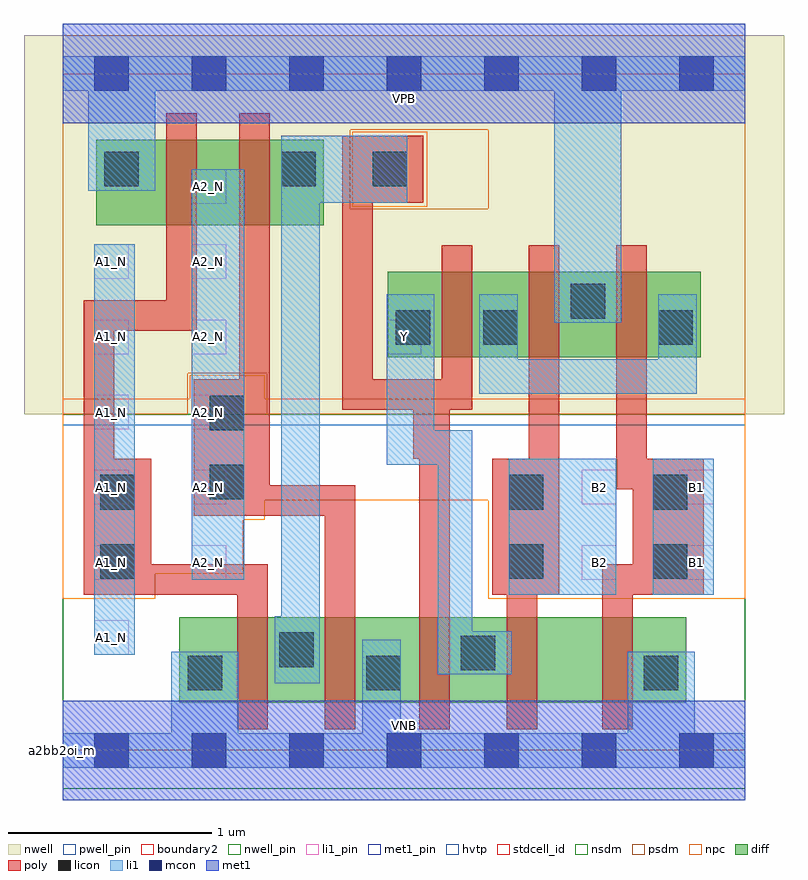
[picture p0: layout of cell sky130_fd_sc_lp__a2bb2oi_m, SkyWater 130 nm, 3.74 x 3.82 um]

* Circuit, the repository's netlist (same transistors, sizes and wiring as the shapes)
* Copyright 2020 The SkyWater PDK Authors
*
* Licensed under the Apache License, Version 2.0 (the "License");
* you may not use this file except in compliance with the License.
* You may obtain a copy of the License at
*
*     https://www.apache.org/licenses/LICENSE-2.0
*
* Unless required by applicable law or agreed to in writing, software
* distributed under the License is distributed on an "AS IS" BASIS,
* WITHOUT WARRANTIES OR CONDITIONS OF ANY KIND, either express or implied.
* See the License for the specific language governing permissions and
* limitations under the License.
*
* SPDX-License-Identifier: Apache-2.0

.SUBCKT sky130_fd_sc_lp__a2bb2oi_m A1_N A2_N B1 B2 VGND VNB VPB VPWR Y
*.PININFO A1_N:I A2_N:I B1:I B2:I VGND:I VNB:I VPB:I VPWR:I Y:O
MMNnor0 inor A1_N VGND VNB sky130_fd_pr__nfet_01v8 m=1 w=0.42U l=0.15U mult=1 sa=0.265
+ sb=0.265 sd=0.28 area=0.063 perim=1.14
MMNnor1 inor A2_N VGND VNB sky130_fd_pr__nfet_01v8 m=1 w=0.42U l=0.15U mult=1 sa=0.265
+ sb=0.265 sd=0.28 area=0.063 perim=1.14
MMNaoi10 VGND B1 sndNB1 VNB sky130_fd_pr__nfet_01v8 m=1 w=0.42U l=0.15U mult=1
+ sa=0.265 sb=0.265 sd=0.28 area=0.063 perim=1.14
MMNaoi11 sndNB1 B2 Y VNB sky130_fd_pr__nfet_01v8 m=1 w=0.42U l=0.15U mult=1 sa=0.265
+ sb=0.265 sd=0.28 area=0.063 perim=1.14
MMNaoi20 Y inor VGND VNB sky130_fd_pr__nfet_01v8 m=1 w=0.42U l=0.15U mult=1 sa=0.265
+ sb=0.265 sd=0.28 area=0.063 perim=1.14
MMPnor0 VPWR A1_N sndPA1N VPB sky130_fd_pr__pfet_01v8_hvt m=1 w=0.42U l=0.15U mult=1
+ sa=0.265 sb=0.265 sd=0.28 area=0.063 perim=1.14
MMPnor1 sndPA1N A2_N inor VPB sky130_fd_pr__pfet_01v8_hvt m=1 w=0.42U l=0.15U mult=1
+ sa=0.265 sb=0.265 sd=0.28 area=0.063 perim=1.14
MMPaoi10 pmid B1 VPWR VPB sky130_fd_pr__pfet_01v8_hvt m=1 w=0.42U l=0.15U mult=1
+ sa=0.265 sb=0.265 sd=0.28 area=0.063 perim=1.14
MMPaoi11 pmid B2 VPWR VPB sky130_fd_pr__pfet_01v8_hvt m=1 w=0.42U l=0.15U mult=1
+ sa=0.265 sb=0.265 sd=0.28 area=0.063 perim=1.14
MMPaoi20 Y inor pmid VPB sky130_fd_pr__pfet_01v8_hvt m=1 w=0.42U l=0.15U mult=1
+ sa=0.265 sb=0.265 sd=0.28 area=0.063 perim=1.14
.ENDS sky130_fd_sc_lp__a2bb2oi_m

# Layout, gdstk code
import gdstk
lib = gdstk.Library(unit=1e-6, precision=1e-09)
def R(c, l, rs):  # rectangles x0, y0, x1, y1
    for r in rs: c.add(gdstk.rectangle(r[:2], r[2:], *l))
def A(c, l, x, y, w, h, nx, ny, dx, dy):  # array of equal rectangles
    R(c, l, [(x+i*dx, y+j*dy, x+i*dx+w, y+j*dy+h) for i in range(nx) for j in range(ny)])
def P(c, l, *ps):  # polygons
    for p in ps: c.add(gdstk.Polygon(p, *l))
nwell_pin = (64, 16)
nwell = (64, 20)
diff = (65, 20)
poly = (66, 20)
licon = (66, 44)
li1_pin = (67, 16)
li1 = (67, 20)
mcon = (67, 44)
met1_pin = (68, 16)
met1 = (68, 20)
hvtp = (78, 44)
stdcell_id = (81, 4)
nsdm = (93, 44)
psdm = (94, 20)
npc = (95, 20)
pwell_pin = (122, 16)
boundary2 = (236, 0)

sky130_fd_sc_lp__a2bb2oi = lib.new_cell('sky130_fd_sc_lp__a2bb2oi_m')
R(sky130_fd_sc_lp__a2bb2oi, nwell_pin, [(0,3.085,3.36,3.33)])
R(sky130_fd_sc_lp__a2bb2oi, nwell, [(-0.19,1.655,3.55,3.52)])
R(sky130_fd_sc_lp__a2bb2oi, diff, [(0.575,0.235,3.07,0.655), (1.6,1.935,3.14,2.355), (0.165,2.585,1.285,3.005)])
P(sky130_fd_sc_lp__a2bb2oi, poly, [(1.01,0.915),(0.435,0.915),(0.435,1.435),(0.255,1.435),(0.255,2.065),(0.66,2.065),(0.66,3.135),(0.51,3.135),(0.51,2.215),(0.105,2.215),(0.105,0.765),(0.86,0.765),(0.86,0.105),(1.01,0.105)],
  [(1.44,1.305),(1.02,1.305),(1.02,3.135),(0.87,3.135),(0.87,1.825),(0.645,1.825),(0.645,1.155),(1.29,1.155),(1.29,0.105),(1.44,0.105)],
  [(2.015,2.485),(1.865,2.485),(1.865,1.825),(1.525,1.825),(1.525,2.695),(1.775,2.695),(1.775,3.025),(1.375,3.025),(1.375,1.675),(1.725,1.675),(1.725,1.435),(1.755,1.435),(1.755,0.105),(1.905,0.105),(1.905,1.675),(2.015,1.675)],
  [(2.445,2.485),(2.295,2.485),(2.295,1.435),(2.115,1.435),(2.115,0.765),(2.185,0.765),(2.185,0.105),(2.335,0.105),(2.335,0.765),(2.445,0.765)],
  [(3.155,1.435),(2.875,1.435),(2.875,2.485),(2.725,2.485),(2.725,1.285),(2.805,1.285),(2.805,0.915),(2.655,0.915),(2.655,0.105),(2.805,0.105),(2.805,0.765),(3.155,0.765)])
R(sky130_fd_sc_lp__a2bb2oi, licon, [(0.615,0.295,0.785,0.465), (1.495,0.295,1.665,0.465), (2.86,0.295,3.03,0.465), (1.96,0.395,2.13,0.565), (1.065,0.41,1.235,0.58), (0.185,0.845,0.355,1.015), (2.195,0.845,2.365,1.015), (2.905,0.845,3.075,1.015), (0.185,1.185,0.355,1.355), (2.195,1.185,2.365,1.355), (2.905,1.185,3.075,1.355), (0.725,1.235,0.895,1.405), (0.725,1.575,0.895,1.745), (1.64,1.995,1.81,2.165), (2.07,1.995,2.24,2.165), (2.93,1.995,3.1,2.165), (2.5,2.125,2.67,2.295), (0.205,2.775,0.375,2.945), (1.075,2.775,1.245,2.945), (1.525,2.775,1.695,2.945)])
A(sky130_fd_sc_lp__a2bb2oi, li1_pin, 0.155, 0.47, 0.17, 0.17, 1, 6, 0, 0.37)
A(sky130_fd_sc_lp__a2bb2oi, li1_pin, 0.635, 0.84, 0.17, 0.17, 1, 6, 0, 0.37)
R(sky130_fd_sc_lp__a2bb2oi, li1_pin, [(2.555,0.84,2.725,1.01), (3.035,0.84,3.205,1.01), (2.555,1.21,2.725,1.38), (3.035,1.21,3.205,1.38), (1.595,1.95,1.765,2.12)])
R(sky130_fd_sc_lp__a2bb2oi, li1, [(0.155,0.47,0.355,2.49), (2.195,0.765,2.725,1.435), (2.905,0.765,3.205,1.435), (0.635,0.84,0.895,2.86)])
P(sky130_fd_sc_lp__a2bb2oi, li1, [(2.42,2.105),(2.42,3.245),(0.455,3.245),(0.455,2.755),(0.125,2.755),(0.125,3.245),(0,3.245),(0,3.415),(3.36,3.415),(3.36,3.245),(2.75,3.245),(2.75,2.105)],
  [(2.78,0.085),(2.78,0.485),(3.11,0.485),(3.11,0.085),(3.36,0.085),(3.36,-0.085),(0,-0.085),(0,0.085),(0.535,0.085),(0.535,0.485),(0.865,0.485),(0.865,0.085),(1.475,0.085),(1.475,0.545),(1.665,0.545),(1.665,0.085)],
  [(1.075,3.025),(1.695,3.025),(1.695,2.695),(1.265,2.695),(1.265,0.33),(1.045,0.33),(1.045,0.66),(1.075,0.66)],
  [(1.845,0.375),(1.845,1.405),(1.595,1.405),(1.595,2.245),(1.83,2.245),(1.83,1.575),(2.015,1.575),(2.015,0.585),(2.21,0.585),(2.21,0.375)],
  [(2.93,1.925),(2.93,2.245),(3.12,2.245),(3.12,1.755),(2.05,1.755),(2.05,2.245),(2.24,2.245),(2.24,1.925)])
A(sky130_fd_sc_lp__a2bb2oi, mcon, 0.155, -0.085, 0.17, 0.17, 7, 2, 0.48, 3.33)
R(sky130_fd_sc_lp__a2bb2oi, met1_pin, [(0,0,3.36,0.245), (0,3.085,3.36,3.33)])
R(sky130_fd_sc_lp__a2bb2oi, met1, [(0,-0.245,3.36,0.245), (0,3.085,3.36,3.575)])
R(sky130_fd_sc_lp__a2bb2oi, hvtp, [(0,1.6,3.36,3.33)])
R(sky130_fd_sc_lp__a2bb2oi, stdcell_id, [(0,0,3.36,3.33)])
R(sky130_fd_sc_lp__a2bb2oi, nsdm, [(0,-0.19,3.36,1.655)])
P(sky130_fd_sc_lp__a2bb2oi, psdm, [(3.36,3.52),(2.095,3.52),(2.095,2.665),(1.415,2.665),(1.415,3.055),(2.095,3.055),(2.095,3.52),(0,3.52),(0,1.655),(0.615,1.655),(0.615,1.855),(1.005,1.855),(1.005,1.655),(3.36,1.655)])
R(sky130_fd_sc_lp__a2bb2oi, npc, [(1.425,2.675,1.795,3.045)])
P(sky130_fd_sc_lp__a2bb2oi, npc, [(3.36,1.73),(0.995,1.73),(0.995,1.845),(0.625,1.845),(0.625,1.73),(0,1.73),(0,0.745),(0.455,0.745),(0.455,0.87),(0.89,0.87),(0.89,1.135),(0.995,1.135),(0.995,1.23),(2.095,1.23),(2.095,0.745),(3.36,0.745)])
R(sky130_fd_sc_lp__a2bb2oi, pwell_pin, [(0,0,3.36,0.245)])
R(sky130_fd_sc_lp__a2bb2oi, boundary2, [(0,0,3.36,3.33)])
sky130_fd_sc_lp__a2bb2oi.add(gdstk.Label('VNB', (1.68,0.123), layer=64, texttype=59))
sky130_fd_sc_lp__a2bb2oi.add(gdstk.Label('VPB', (1.68,3.208), layer=64, texttype=5))
sky130_fd_sc_lp__a2bb2oi.add(gdstk.Label('a2bb2oi_m', (0,0), layer=83, texttype=44))
sky130_fd_sc_lp__a2bb2oi.add(gdstk.Label('VPWR', (1.68,3.208), layer=68, texttype=5))
sky130_fd_sc_lp__a2bb2oi.add(gdstk.Label('VGND', (1.68,0.123), layer=68, texttype=5))
sky130_fd_sc_lp__a2bb2oi.add(gdstk.Label('A1_N', (0.24,0.555), layer=67, texttype=5))
sky130_fd_sc_lp__a2bb2oi.add(gdstk.Label('A1_N', (0.24,0.925), layer=67, texttype=5))
sky130_fd_sc_lp__a2bb2oi.add(gdstk.Label('A1_N', (0.24,1.295), layer=67, texttype=5))
sky130_fd_sc_lp__a2bb2oi.add(gdstk.Label('A1_N', (0.24,1.665), layer=67, texttype=5))
sky130_fd_sc_lp__a2bb2oi.add(gdstk.Label('A1_N', (0.24,2.035), layer=67, texttype=5))
sky130_fd_sc_lp__a2bb2oi.add(gdstk.Label('A1_N', (0.24,2.405), layer=67, texttype=5))
sky130_fd_sc_lp__a2bb2oi.add(gdstk.Label('A2_N', (0.72,0.925), layer=67, texttype=5))
sky130_fd_sc_lp__a2bb2oi.add(gdstk.Label('A2_N', (0.72,1.295), layer=67, texttype=5))
sky130_fd_sc_lp__a2bb2oi.add(gdstk.Label('A2_N', (0.72,1.665), layer=67, texttype=5))
sky130_fd_sc_lp__a2bb2oi.add(gdstk.Label('A2_N', (0.72,2.035), layer=67, texttype=5))
sky130_fd_sc_lp__a2bb2oi.add(gdstk.Label('A2_N', (0.72,2.405), layer=67, texttype=5))
sky130_fd_sc_lp__a2bb2oi.add(gdstk.Label('A2_N', (0.72,2.775), layer=67, texttype=5))
sky130_fd_sc_lp__a2bb2oi.add(gdstk.Label('B1', (3.12,0.925), layer=67, texttype=5))
sky130_fd_sc_lp__a2bb2oi.add(gdstk.Label('B1', (3.12,1.295), layer=67, texttype=5))
sky130_fd_sc_lp__a2bb2oi.add(gdstk.Label('B2', (2.64,0.925), layer=67, texttype=5))
sky130_fd_sc_lp__a2bb2oi.add(gdstk.Label('B2', (2.64,1.295), layer=67, texttype=5))
sky130_fd_sc_lp__a2bb2oi.add(gdstk.Label('Y', (1.68,2.035), layer=67, texttype=5))

lib.write_gds('sky130_fd_sc_lp__a2bb2oi_m.gds')
